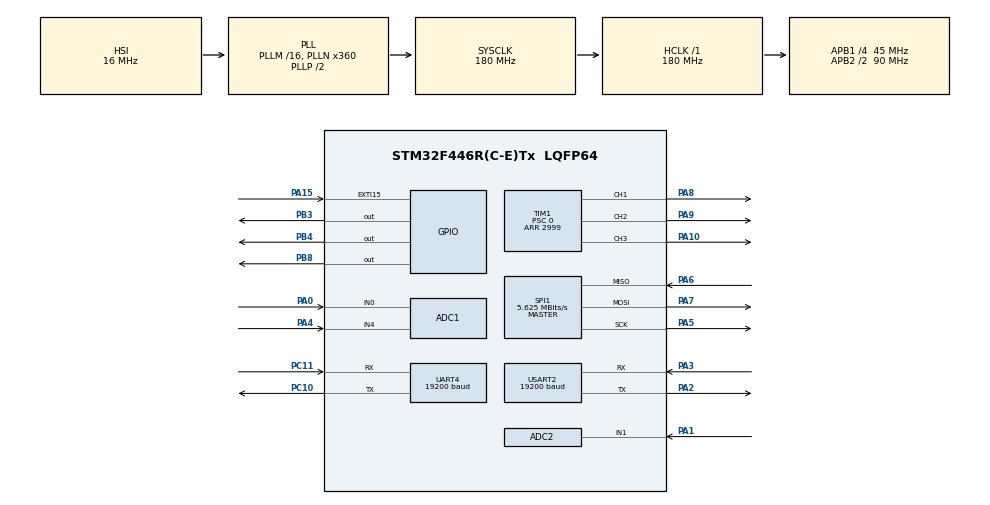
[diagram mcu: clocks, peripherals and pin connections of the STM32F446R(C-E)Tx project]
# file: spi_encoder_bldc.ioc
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ADC1.Channel-5\#ChannelRegularConversion=ADC_CHANNEL_0
ADC1.Channel-6\#ChannelInjectedConversion=ADC_CHANNEL_0
ADC1.Channel-7\#ChannelInjectedConversion=ADC_CHANNEL_4
ADC1.ClockPrescaler=ADC_CLOCK_SYNC_PCLK_DIV6
ADC1.ContinuousConvMode=ENABLE
ADC1.DataAlign=ADC_DATAALIGN_RIGHT
ADC1.EOCSelection=ADC_EOC_SEQ_CONV
ADC1.ExternalTrigConv=ADC_SOFTWARE_START
ADC1.ExternalTrigInjecConv=ADC_EXTERNALTRIGINJECCONV_T1_TRGO
ADC1.InjNumberOfConversion=2
ADC1.InjectedConvMode=Discontinuous
ADC1.InjectedOffset-6\#ChannelInjectedConversion=0
ADC1.InjectedOffset-7\#ChannelInjectedConversion=0
ADC1.InjectedRank-6\#ChannelInjectedConversion=1
ADC1.InjectedRank-7\#ChannelInjectedConversion=2
ADC1.NbrOfConversion=1
ADC1.NbrOfConversionFlag=1
ADC1.Rank-5\#ChannelRegularConversion=1
ADC1.SamplingTime-5\#ChannelRegularConversion=ADC_SAMPLETIME_480CYCLES
ADC1.SamplingTime-6\#ChannelInjectedConversion=ADC_SAMPLETIME_480CYCLES
ADC1.SamplingTime-7\#ChannelInjectedConversion=ADC_SAMPLETIME_480CYCLES
ADC1.master=1
ADC2.Channel-1\#ChannelRegularConversion=ADC_CHANNEL_1
ADC2.ClockPrescaler=ADC_CLOCK_SYNC_PCLK_DIV6
ADC2.NbrOfConversionFlag=1
ADC2.Rank-1\#ChannelRegularConversion=1
ADC2.SamplingTime-1\#ChannelRegularConversion=ADC_SAMPLETIME_15CYCLES
Dma.ADC2.1.Direction=DMA_PERIPH_TO_MEMORY
Dma.ADC2.1.FIFOMode=DMA_FIFOMODE_DISABLE
Dma.ADC2.1.Instance=DMA2_Stream2
Dma.ADC2.1.MemDataAlignment=DMA_MDATAALIGN_HALFWORD
Dma.ADC2.1.MemInc=DMA_MINC_ENABLE
Dma.ADC2.1.Mode=DMA_NORMAL
Dma.ADC2.1.PeriphDataAlignment=DMA_PDATAALIGN_HALFWORD
Dma.ADC2.1.PeriphInc=DMA_PINC_DISABLE
Dma.ADC2.1.Priority=DMA_PRIORITY_MEDIUM
Dma.Request0=USART2_TX
Dma.Request1=ADC2
Dma.Request2=UART4_TX
Dma.UART4_TX.2.Direction=DMA_MEMORY_TO_PERIPH
Dma.UART4_TX.2.FIFOMode=DMA_FIFOMODE_DISABLE
Dma.UART4_TX.2.Instance=DMA1_Stream4
Dma.UART4_TX.2.MemDataAlignment=DMA_MDATAALIGN_BYTE
Dma.UART4_TX.2.MemInc=DMA_MINC_ENABLE
Dma.UART4_TX.2.Mode=DMA_NORMAL
Dma.UART4_TX.2.PeriphDataAlignment=DMA_PDATAALIGN_BYTE
Dma.UART4_TX.2.PeriphInc=DMA_PINC_DISABLE
Dma.UART4_TX.2.Priority=DMA_PRIORITY_LOW
Dma.USART2_TX.0.Direction=DMA_MEMORY_TO_PERIPH
Dma.USART2_TX.0.FIFOMode=DMA_FIFOMODE_DISABLE
Dma.USART2_TX.0.Instance=DMA1_Stream6
Dma.USART2_TX.0.MemDataAlignment=DMA_MDATAALIGN_BYTE
Dma.USART2_TX.0.MemInc=DMA_MINC_ENABLE
Dma.USART2_TX.0.Mode=DMA_NORMAL
Dma.USART2_TX.0.PeriphDataAlignment=DMA_PDATAALIGN_BYTE
Dma.USART2_TX.0.PeriphInc=DMA_PINC_DISABLE
Dma.USART2_TX.0.Priority=DMA_PRIORITY_LOW
Mcu.Family=STM32F4
Mcu.Name=STM32F446R(C-E)Tx
Mcu.Package=LQFP64
NVIC.ADC_IRQn=true\:0\:0\:false\:false\:true\:true\:true\:true
NVIC.DMA1_Stream4_IRQn=true\:0\:0\:false\:false\:true\:false\:true\:true
NVIC.DMA1_Stream6_IRQn=true\:0\:0\:false\:false\:true\:false\:true\:true
NVIC.DMA2_Stream2_IRQn=true\:0\:0\:false\:false\:true\:false\:true\:true
NVIC.PriorityGroup=NVIC_PRIORITYGROUP_0
NVIC.SPI1_IRQn=true\:0\:0\:false\:false\:true\:true\:true\:true
NVIC.TIM8_UP_TIM13_IRQn=true\:0\:0\:false\:false\:true\:true\:true\:true
NVIC.UART4_IRQn=true\:0\:0\:false\:false\:true\:true\:true\:true
NVIC.USART2_IRQn=true\:0\:0\:false\:false\:true\:true\:true\:true
PA0-WKUP.Signal=SharedAnalog_PA0
PA1.Signal=SharedAnalog_PA1
PA10.Signal=S_TIM1_CH3
PA13.GPIO_Label=TMS
PA13.Mode=Serial_Wire
PA13.Signal=SYS_JTMS-SWDIO
PA14.GPIO_Label=TCK
PA14.Mode=Serial_Wire
PA14.Signal=SYS_JTCK-SWCLK
PA15.Signal=GPXTI15
PA2.Mode=Asynchronous
PA2.Signal=USART2_TX
PA3.Mode=Asynchronous
PA3.Signal=USART2_RX
PA4.Signal=SharedAnalog_PA4
PA5.Mode=Full_Duplex_Master
PA5.Signal=SPI1_SCK
PA6.Mode=Full_Duplex_Master
PA6.Signal=SPI1_MISO
PA7.Mode=Full_Duplex_Master
PA7.Signal=SPI1_MOSI
PA8.Signal=S_TIM1_CH1
PA9.Signal=S_TIM1_CH2
PB3.Signal=GPIO_Output
PB4.Signal=GPIO_Output
PB8.Signal=GPIO_Output
PC10.Mode=Asynchronous
PC10.Signal=UART4_TX
PC11.Mode=Asynchronous
PC11.Signal=UART4_RX
PC14-OSC32_IN.Signal=RCC_OSC32_IN
PC15-OSC32_OUT.Signal=RCC_OSC32_OUT
PH0-OSC_IN.Mode=HSE-External-Oscillator
PH0-OSC_IN.Signal=RCC_OSC_IN
PH1-OSC_OUT.Mode=HSE-External-Oscillator
PH1-OSC_OUT.Signal=RCC_OSC_OUT
ProjectManager.HeapSize=0x200
ProjectManager.StackSize=0x400
ProjectManager.TargetToolchain=STM32CubeIDE
RCC.48MHZClocksFreq_Value=84000000
RCC.AHBFreq_Value=180000000
RCC.APB1CLKDivider=RCC_HCLK_DIV4
RCC.APB1Freq_Value=45000000
RCC.APB1TimCLKDivider=1
RCC.APB1TimFreq_Value=45000000
RCC.APB2CLKDivider=RCC_HCLK_DIV2
RCC.APB2Freq_Value=90000000
RCC.APB2TimFreq_Value=180000000
RCC.CortexFreq_Value=180000000
RCC.FLatency-AdvancedSettings=FLASH_LATENCY_5
RCC.HCLKFreq_Value=180000000
RCC.HSE_VALUE=8000000
RCC.HSI_VALUE=16000000
RCC.PLLN=360
RCC.SYSCLKFreq_VALUE=180000000
RCC.SYSCLKSource=RCC_SYSCLKSOURCE_PLLCLK
RCC.USBFreq_Value=180000000
RCC.VCOOutputFreq_Value=360000000
SH.S_TIM1_CH1.0=TIM1_CH1,PWM Generation1 CH1
SH.S_TIM1_CH2.0=TIM1_CH2,PWM Generation2 CH2
SH.S_TIM1_CH3.0=TIM1_CH3,PWM Generation3 CH3
SH.SharedAnalog_PA0.0=GPIO_Analog
SH.SharedAnalog_PA0.1=ADC1_IN0,IN0
SH.SharedAnalog_PA1.0=GPIO_Analog
SH.SharedAnalog_PA1.1=ADC2_IN1,IN1
SH.SharedAnalog_PA4.0=GPIO_Analog
SH.SharedAnalog_PA4.1=ADC1_IN4,IN4
SPI1.BaudRatePrescaler=SPI_BAUDRATEPRESCALER_16
SPI1.CLKPhase=SPI_PHASE_2EDGE
SPI1.CLKPolarity=SPI_POLARITY_LOW
SPI1.CalculateBaudRate=5.625 MBits/s
SPI1.DataSize=SPI_DATASIZE_16BIT
SPI1.Direction=SPI_DIRECTION_2LINES
SPI1.Mode=SPI_MODE_MASTER
SPI1.VirtualType=VM_MASTER
TIM1.AutoReloadPreload=TIM_AUTORELOAD_PRELOAD_DISABLE
TIM1.AutomaticOutput=TIM_AUTOMATICOUTPUT_DISABLE
TIM1.BreakPolarity=TIM_BREAKPOLARITY_HIGH
TIM1.BreakState=TIM_BREAK_DISABLE
TIM1.Channel-PWM\ Generation1\ CH1=TIM_CHANNEL_1
TIM1.Channel-PWM\ Generation2\ CH2=TIM_CHANNEL_2
TIM1.Channel-PWM\ Generation3\ CH3=TIM_CHANNEL_3
TIM1.CounterMode=TIM_COUNTERMODE_CENTERALIGNED1
TIM1.LockLevel=TIM_LOCKLEVEL_OFF
TIM1.OCFastMode_PWM-PWM\ Generation1\ CH1=TIM_OCFAST_ENABLE
TIM1.OCFastMode_PWM-PWM\ Generation2\ CH2=TIM_OCFAST_ENABLE
TIM1.OCFastMode_PWM-PWM\ Generation3\ CH3=TIM_OCFAST_ENABLE
TIM1.OCMode_PWM-PWM\ Generation1\ CH1=TIM_OCMODE_PWM2
TIM1.OCMode_PWM-PWM\ Generation2\ CH2=TIM_OCMODE_PWM2
TIM1.OCMode_PWM-PWM\ Generation3\ CH3=TIM_OCMODE_PWM2
TIM1.OffStateIDLEMode=TIM_OSSI_DISABLE
TIM1.OffStateRunMode=TIM_OSSR_DISABLE
TIM1.Period=2999
TIM1.Prescaler=0
TIM1.Pulse-PWM\ Generation1\ CH1=0
TIM1.Pulse-PWM\ Generation2\ CH2=0
TIM1.Pulse-PWM\ Generation3\ CH3=0
TIM1.RepetitionCounter=0
TIM1.TIM_MasterOutputTrigger=TIM_TRGO_UPDATE
TIM1.TIM_MasterSlaveMode=TIM_MASTERSLAVEMODE_DISABLE
TIM2.Period=4294967295
TIM2.Prescaler=44
TIM3.Prescaler=19
TIM8.Period=999
TIM8.Prescaler=179
UART4.BaudRate=19200
UART4.VirtualMode=Asynchronous
USART2.BaudRate=19200
USART2.VirtualMode=VM_ASYNC
VP_TIM1_VS_ClockSourceINT.Mode=Internal
VP_TIM2_VS_ClockSourceINT.Mode=Internal
VP_TIM3_VS_ClockSourceINT.Mode=Internal
VP_TIM8_VS_ClockSourceINT.Mode=Internal
board=NUCLEO-F446RE

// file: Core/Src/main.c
/* USER CODE BEGIN Header */
/**
  ******************************************************************************
  * @file           : main.c
  * @brief          : Main program body
  ******************************************************************************
  * @attention
  *
  * Copyright (c) 2025 STMicroelectronics.
  * All rights reserved.
  *
  * This software is licensed under terms that can be found in the LICENSE file
  * in the root directory of this software component.
  * If no LICENSE file comes with this software, it is provided AS-IS.
  *
  ******************************************************************************
  */
/* USER CODE END Header */
#include "main.h"

/* USER CODE BEGIN Includes */
#include "stdio.h"
#include "string.h"
#include "math.h"
#define PWM_PERIOD 2999
#define PI 3.14159265359
#define AS5147U_ANGLE_REG  0x3FFF
#define AS5147U_BIT_RESOLUTION 14
#define V_LIMIT 8.0
#define INTEGRAL_LIMIT 1.5
#define OVERCURRENT_LIMIT_SQ 1.96
volatile uint32_t adc_value_A0,adc_value_A2, t_prev;
float ia,ib,ic,i_alpha,i_beta,i_d,i_q,Valpha,Vbeta,Va,Vb,Vc,angle,error_d,error_q,error_d_sum, error_q_sum, speed_error_sum, error_pos_sum;
float id_ref = 0.0,iq_ref = 0.1 ,theta_ref = 0 ,velocity_ref = 50;
float Ki = 30, Kp = 8 ,Kp_speed = 20, Ki_speed = 4,Kd_speed = 1, Ki_pos = 35, Kp_pos = 70,Kd_pos = 3;
float previous_angle,angle_current,angle_previous,velocity,total_angle,error_pos,theta_now,alpha = 0.9;
float execution_time,dt,speed_dt,angle_elec_rad,angle_offset,error_speed,speed_dt = 0.007;
float theta = 0,Vd =0,adc_dma_voltage,Vq,Iq_rate,idq=0;
float output_q_rate,elec_angle,Vq_unclamped,current_sq;
float shunt_resistor = 0.01,amp_gain = 50.0;
float t_position_prev,t_position_now,position_dt,Speed_dt;
int speed_loop_counter = 0,position_loop_counter = 0,i = 0,pole_pairs = 7;
volatile uint8_t flag_current_loop = 0,uart_busy = 0;
uint32_t adc_dma_value;
uint16_t PWM_A,PWM_B,PWM_C,rawCount,adc_inj_val[2],cnt_val;
uint8_t array_iq[50];
float raw_angle,angle_deg;
float error_pos_sum ;

/* USER CODE END Includes */

ADC_HandleTypeDef hadc1;
ADC_HandleTypeDef hadc2;
DMA_HandleTypeDef hdma_adc2;

SPI_HandleTypeDef hspi1;

TIM_HandleTypeDef htim1;
TIM_HandleTypeDef htim2;
TIM_HandleTypeDef htim3;
TIM_HandleTypeDef htim8;

UART_HandleTypeDef huart4;
UART_HandleTypeDef huart2;
DMA_HandleTypeDef hdma_uart4_tx;
DMA_HandleTypeDef hdma_usart2_tx;

void SystemClock_Config(void);
static void MX_GPIO_Init(void);
static void MX_DMA_Init(void);
static void MX_TIM1_Init(void);
static void MX_ADC1_Init(void);
static void MX_SPI1_Init(void);
static void MX_TIM3_Init(void);
static void MX_USART2_UART_Init(void);
static void MX_TIM2_Init(void);
static void MX_TIM8_Init(void);
static void MX_UART4_Init(void);
static void MX_ADC2_Init(void);

/* USER CODE BEGIN 0 */

unsigned long _micros(){
	return HAL_GetTick()*1000;
}

void Update_dt()
{
	 static uint32_t t_prev = 0;
	uint32_t t_now = _micros();
	dt = (t_now - t_prev) / 1000000.0f;
	t_prev = t_now;
}

void update_speed_dt()
{
	 static uint32_t t_speed_prev = 0;
	uint32_t t_speed_now = _micros();
	Speed_dt = (t_speed_now - t_speed_prev) / 1000000.0f;
	t_speed_prev = t_speed_now;
}

void update_position_dt()
{
	 static uint32_t t_position_prev = 0;
	uint32_t t_position_now = _micros();
	position_dt = (t_position_now - t_position_prev) / 1000000.0f;
	t_position_prev = t_position_now;
}

void delay_us (uint16_t us)
{
	__HAL_TIM_SET_COUNTER(&htim3,0);
	while (__HAL_TIM_GET_COUNTER(&htim3) < us);
}

uint8_t spiCalcEvenParity(uint16_t value) {
    uint8_t cnt = 0;
    for (uint8_t i = 0; i < 16; i++) {
        if (value & 0x1) cnt++;
        value >>= 1;
    }
    return cnt & 0x1;
}

uint16_t AS5147U_ReadAngle() {
    uint16_t command = AS5147U_ANGLE_REG ;
    command |= (1 << 14);
    command |= ((uint16_t)spiCalcEvenParity(command) << 15);
    uint16_t receivedData;

    uint16_t nop = 0x0000;

    HAL_GPIO_WritePin(GPIOB, GPIO_PIN_8, GPIO_PIN_RESET);
    HAL_SPI_Transmit(&hspi1, (uint8_t*)&command, 1, HAL_MAX_DELAY);

    HAL_GPIO_WritePin(GPIOB, GPIO_PIN_8, GPIO_PIN_SET);
    delay_us(10);
    HAL_GPIO_WritePin(GPIOB, GPIO_PIN_8, GPIO_PIN_RESET);

    HAL_SPI_TransmitReceive(&hspi1,(uint8_t*)&nop ,(uint8_t*)&receivedData, 1, HAL_MAX_DELAY);
    HAL_GPIO_WritePin(GPIOB, GPIO_PIN_8, GPIO_PIN_SET);

    receivedData = receivedData >> (1 + 13 - AS5147U_BIT_RESOLUTION);
    const uint16_t data_mask = 0xFFFF >> (16 - AS5147U_BIT_RESOLUTION);
    return receivedData & data_mask;

}

float normalize_angle(float angle_elec_rad) {
    while (angle_elec_rad >= 2 * M_PI) angle_elec_rad -= 2 * M_PI;
    while (angle_elec_rad < 0) angle_elec_rad += 2 * M_PI;
    return angle_elec_rad;
}

float AS5147U_GetAngleRad() {
    rawCount = AS5147U_ReadAngle();
    float mechanical = rawCount / 16384.0 * 2.0 * PI;
    mechanical -= 5.3897189304;// dây màu
   // mechanical -= 1.19627206;// dây 3 pha màu trắng
    if (mechanical >= 2.0f * PI) mechanical -= 2.0f * PI;
    return mechanical;
}

float electricalAngle() {
	float mechanical_angle_rad = AS5147U_GetAngleRad();
     elec_angle = ((mechanical_angle_rad  - angle_offset )) * pole_pairs;
    while (elec_angle >= 2 * M_PI) elec_angle -= 2 * M_PI;
    while (elec_angle < 0) elec_angle += 2 * M_PI;
    return elec_angle;
}

void alignRotor() {
    float V_align = 2.0;

    Va = V_align;
    PWM_A = ((Va / 8.0 + 1.0)/2 * PWM_PERIOD)*0.4;
    PWM_B = 0;
    PWM_C = 0;

    __HAL_TIM_SET_COMPARE(&htim1, TIM_CHANNEL_1, PWM_A);
    __HAL_TIM_SET_COMPARE(&htim1, TIM_CHANNEL_2, PWM_B);
    __HAL_TIM_SET_COMPARE(&htim1, TIM_CHANNEL_3, PWM_C);

    HAL_Delay(1000);

    angle_offset = AS5147U_GetAngleRad();

    __HAL_TIM_SET_COMPARE(&htim1, TIM_CHANNEL_1, 0);
    __HAL_TIM_SET_COMPARE(&htim1, TIM_CHANNEL_2, 0);
    __HAL_TIM_SET_COMPARE(&htim1, TIM_CHANNEL_3, 0);
}
void clark()
{
 	i_alpha = ia;
	i_beta = (ib - ic) / sqrt(3);
}

void park()
{
	i_d = i_alpha*cos(theta) + i_beta*sin(theta);
	i_q = -i_alpha*sin(theta) + i_beta*cos(theta);
	idq = sqrt( i_d * i_d + i_q * i_q);
}

void setpwm(){

	PWM_A = ((Va / 8 + 1.0)/2 * PWM_PERIOD)*0.3;
	PWM_B = ((Vb / 8 + 1.0)/2 * PWM_PERIOD)*0.3;
	PWM_C = ((Vc / 8 + 1.0)/2 * PWM_PERIOD)*0.3;

	// current_sq = sqrt(ia * ia + ib * ib + ic * ic);
	 current_sq = ia * ia + ib * ib + ic * ic;

	if (current_sq > OVERCURRENT_LIMIT_SQ) {
	    __HAL_TIM_SET_COMPARE(&htim1, TIM_CHANNEL_1, 0);
	    __HAL_TIM_SET_COMPARE(&htim1, TIM_CHANNEL_2, 0);
	    __HAL_TIM_SET_COMPARE(&htim1, TIM_CHANNEL_3, 0);
	    //HAL_Delay(5000);
	} else {
	    __HAL_TIM_SET_COMPARE(&htim1, TIM_CHANNEL_1, PWM_A);
	    __HAL_TIM_SET_COMPARE(&htim1, TIM_CHANNEL_2, PWM_B);
	    __HAL_TIM_SET_COMPARE(&htim1, TIM_CHANNEL_3, PWM_C);
	}
	if (adc_dma_voltage < 1.5 || adc_dma_voltage > 1.9) {
		    __HAL_TIM_SET_COMPARE(&htim1, TIM_CHANNEL_1, 0);
		    __HAL_TIM_SET_COMPARE(&htim1, TIM_CHANNEL_2, 0);
		    __HAL_TIM_SET_COMPARE(&htim1, TIM_CHANNEL_3, 0);
		    //HAL_Delay(5000);

		} else {
		    __HAL_TIM_SET_COMPARE(&htim1, TIM_CHANNEL_1, PWM_A);
		    __HAL_TIM_SET_COMPARE(&htim1, TIM_CHANNEL_2, PWM_B);
		    __HAL_TIM_SET_COMPARE(&htim1, TIM_CHANNEL_3, PWM_C);
		}
}

void update_PID()
{
	if ((fabs(error_pos) >= 0.0f) && (fabs(error_pos) <= (6.0f * (float)M_PI)))//(6.0f * (float)M_PI) ))
	{

		Kp_speed = 20.0f;
				Ki_speed = 2.0f;
				Kd_speed = 2.0f;
				Ki_pos = 1.0f;
				Kp_pos = 100.0f;
				Kd_pos = 15.0f;
			    if((velocity_ref > -200 && velocity_ref <= 0) || (velocity_ref > 0 && velocity_ref <= 200))
			    {
			        Ki = 3.5;
			        Kp = 1.0;
			    }
			    else if((velocity_ref > -500 && velocity_ref <= -200)||(velocity_ref > 200 && velocity_ref <= 500))
			    {
			        Ki = 5.0;
			        Kp = 2.0;
			    }
			    else if((velocity_ref > -1000 && velocity_ref <= -500)||(velocity_ref > 500 && velocity_ref <= 1000))
			    {
			        Ki = 7.0;
			        Kp = 2.0;
			    }
			    else if((velocity_ref > -1500 && velocity_ref <= -1000)||(velocity_ref > 1000 && velocity_ref <= 1500))
			    {
			        Ki = 11;
			        Kp = 2.0;
			    }
			    else
			    {
			        Ki = 13;
			        Kp = 2.0;
			    }
	}
else
	{
		Kp_speed = 10.0f;
		Ki_speed = 0.0f;
		Kd_speed = 0.0f;
		Ki_pos = 5.0f;
		Kp_pos = 100.0f;
		Kd_pos = 0.5f;
		if((velocity_ref > -200 && velocity_ref <= 0) || (velocity_ref > 0 && velocity_ref <= 200))
		{
		Ki = 7.5;
		Kp = 5.5;
		}
		else if((velocity_ref > -500 && velocity_ref <= -200)||(velocity_ref > 200 && velocity_ref <= 500))
		{
		 Ki = 8.0;
		 Kp = 5.5;
		 }
		else if((velocity_ref > -1000 && velocity_ref <= -500)||(velocity_ref > 500 && velocity_ref <= 1000))
		{
		 Ki = 9.0;
		 Kp = 5.5;
		 }
		else if((velocity_ref > -1500 && velocity_ref <= -1000)||(velocity_ref > 1000 && velocity_ref <= 1500))
		{
		Ki = 13;
		Kp = 5.5;
		}
		else
		{
		Ki = 13;
		Kp = 5.5;
		}
	}

}

void position_loop()
{
	update_position_dt();
	    static float raw_angle_prev = 0;
	    static int turn_count = 0;

	    static float velocity_ref_prev = 0;

	     raw_angle = AS5147U_GetAngleRad();
	     angle_deg = raw_angle * (180.0f / M_PI);
	    float delta = raw_angle - raw_angle_prev;

	    if (delta > M_PI) turn_count--;
	    else if (delta < -M_PI) turn_count++;

	    raw_angle_prev = raw_angle;

	    theta_now = raw_angle + turn_count * 2.0f * M_PI;
	    error_pos = theta_ref - theta_now;

	    error_pos_sum += error_pos * position_dt;
	    error_pos_sum = fminf(fmaxf(error_pos_sum, -0.5f), 0.5f);

	    float velocity_unclamped = Kp_pos * error_pos + Ki_pos * error_pos_sum;
	    velocity_unclamped = fminf(fmaxf(velocity_unclamped, -1700), 1700);

	    float velocity_ramp = 5000.0f;
	    float velocity_rate = (velocity_unclamped - velocity_ref_prev) / position_dt;

	    if (velocity_rate > velocity_ramp)
	        velocity_ref = velocity_ref_prev + velocity_ramp * position_dt;
	    else if (velocity_rate < -velocity_ramp)
	        velocity_ref = velocity_ref_prev - velocity_ramp * position_dt;
	    else
	        velocity_ref = velocity_unclamped;

	    velocity_ref_prev = velocity_ref;
}

void Speed_Loop()
{
	update_speed_dt();
    static float angle_prev = 0;
    static float error_speed_prev = 0;
    float angle_now = electricalAngle();
    float delta_angle = angle_now - angle_prev;
    //speed_dt= Speed_dt * 7;
    if (delta_angle > PI) delta_angle -= 2 * PI;
    if (delta_angle < -PI) delta_angle += 2 * PI;

    velocity = alpha * velocity + (1 - alpha) * ((delta_angle / speed_dt) * (60.0f / (2.0f * PI)));
    error_speed = velocity_ref - velocity;
    speed_error_sum += error_speed * speed_dt;
    speed_error_sum = fminf(fmaxf(speed_error_sum, -1.0f), 1.0f);

    float derivative = (error_speed - error_speed_prev) / speed_dt;
    error_speed_prev = error_speed;

    float Iq_unlimited = Kp_speed * error_speed + Ki_speed * speed_error_sum + Kd_speed * derivative;
    iq_ref = fminf(fmaxf(Iq_unlimited, -1.0f), 1.0f);
    angle_prev = angle_now;

}

void Current_Loop()
{
    Update_dt();

    theta = electricalAngle();
    clark();
    park();

    error_d = id_ref - i_d;
    error_q = iq_ref - i_q;

    error_d_sum += error_d * dt;
    error_q_sum += error_q * dt;

    error_d_sum = fminf(fmaxf(error_d_sum, -INTEGRAL_LIMIT), INTEGRAL_LIMIT);
    error_q_sum = fminf(fmaxf(error_q_sum, -INTEGRAL_LIMIT), INTEGRAL_LIMIT);

    float Vd_unclamped = Kp * error_d + Ki * error_d_sum ;
     Vq_unclamped = Kp * error_q + Ki * error_q_sum ;

    float V_limit = 8.0f;

    static float Vd_prev = 0;
    static float Vq_prev = 0;
    float output_ramp = 5000.0f;

    float output_d_rate = (Vd_unclamped - Vd_prev) / dt;
    output_q_rate = (Vq_unclamped - Vq_prev) / dt;

    if (output_d_rate > output_ramp)
        Vd = Vd_prev + output_ramp * dt;
    else if (output_d_rate < -output_ramp)
        Vd = Vd_prev - output_ramp * dt;
    else
        Vd = Vd_unclamped;

    if (output_q_rate > output_ramp)
        Vq = Vq_prev + output_ramp * dt;
    else if (output_q_rate < -output_ramp)
        Vq = Vq_prev - output_ramp * dt;
    else
        Vq = Vq_unclamped;

    Vd = fminf(fmaxf(Vd, -V_limit), V_limit);
    Vq = fminf(fmaxf(Vq, -V_limit), V_limit);

    Vd_prev = Vd;
    Vq_prev = Vq;

	Valpha = Vd * cos(theta) - Vq * sin(theta);
	Vbeta  = Vd * sin(theta) + Vq * cos(theta);

    Va = Valpha;
    Vb = -0.5 * Valpha + (sqrtf(3) / 2) * Vbeta ;
    Vc = -0.5 * Valpha - (sqrtf(3) / 2) * Vbeta ;

    setpwm(Va, Vb, Vc);
}

/* USER CODE END 0 */

int main(void)
{

  /* MCU Configuration--------------------------------------------------------*/

  /* Reset of all peripherals, Initializes the Flash interface and the Systick. */
  HAL_Init();

  /* Configure the system clock */
  SystemClock_Config();

  /* Initialize all configured peripherals */
  MX_GPIO_Init();
  MX_DMA_Init();
  MX_TIM1_Init();
  MX_ADC1_Init();
  MX_SPI1_Init();
  MX_TIM3_Init();
  MX_USART2_UART_Init();
  MX_TIM2_Init();
  MX_TIM8_Init();
  MX_UART4_Init();
  MX_ADC2_Init();
  /* USER CODE BEGIN 2 */

  HAL_TIM_Base_Start(&htim1);
  HAL_TIM_PWM_Start(&htim1, TIM_CHANNEL_1);
  HAL_TIM_PWM_Start(&htim1, TIM_CHANNEL_2);
  HAL_TIM_PWM_Start(&htim1, TIM_CHANNEL_3);
  HAL_TIM_Base_Start_IT(&htim8);
  HAL_TIM_Base_Start(&htim3);
  __HAL_TIM_SET_COUNTER(&htim2, 0);
  HAL_TIM_Base_Start(&htim2);
  HAL_ADCEx_InjectedStart_IT(&hadc1);
 // HAL_GPIO_WritePin(GPIOB, GPIO_PIN_3, GPIO_PIN_SET);
 // HAL_GPIO_WritePin(GPIOB, GPIO_PIN_4, GPIO_PIN_SET);
  HAL_ADC_Start_DMA(&hadc2, &adc_dma_value, 1);
  angle = AS5147U_GetAngleRad();
  alignRotor();
  //position_loop();
  /* USER CODE END 2 */

  /* Infinite loop */
  /* USER CODE BEGIN WHILE */
  while (1)
  {

	  if (flag_current_loop)
	     {
	         flag_current_loop = 0;
	         update_PID();
	         Current_Loop();
	         Speed_Loop();
	         i++;
	         position_loop_counter++;
	         if(position_loop_counter >= 12)
	         {
       	     position_loop();
          	 position_loop_counter = 0;
	         }

// demo vòng vị trí

	                   if(i == 2000)
	                   {
	                	   theta_ref += M_PI*6;

	                   }
	                   else if (i == 4000)
	                   {
	                	   theta_ref -= M_PI*6;
	                	   i = 0;
	                   }
	     }
	      if (!uart_busy)
	      {
	    	  	    sprintf((char*)array_iq, "%f\t%f\t%f\t\r\n", theta_ref, theta_now,velocity);// ,velocity
	    	  	    uart_busy = 1; // Đánh dấu UART đang bận
	    	  	    HAL_UART_Transmit_DMA(&huart2, array_iq, strlen((char*)array_iq));

      }
    /* USER CODE END WHILE */

  }
}

void SystemClock_Config(void)
{
  RCC_OscInitTypeDef RCC_OscInitStruct = {0};
  RCC_ClkInitTypeDef RCC_ClkInitStruct = {0};

  /** Configure the main internal regulator output voltage
  */
  __HAL_RCC_PWR_CLK_ENABLE();
  __HAL_PWR_VOLTAGESCALING_CONFIG(PWR_REGULATOR_VOLTAGE_SCALE1);

  /** Initializes the RCC Oscillators according to the specified parameters
  * in the RCC_OscInitTypeDef structure.
  */
  RCC_OscInitStruct.OscillatorType = RCC_OSCILLATORTYPE_HSI;
  RCC_OscInitStruct.HSIState = RCC_HSI_ON;
  RCC_OscInitStruct.HSICalibrationValue = RCC_HSICALIBRATION_DEFAULT;
  RCC_OscInitStruct.PLL.PLLState = RCC_PLL_ON;
  RCC_OscInitStruct.PLL.PLLSource = RCC_PLLSOURCE_HSI;
  RCC_OscInitStruct.PLL.PLLM = 16;
  RCC_OscInitStruct.PLL.PLLN = 360;
  RCC_OscInitStruct.PLL.PLLP = RCC_PLLP_DIV2;
  RCC_OscInitStruct.PLL.PLLQ = 2;
  RCC_OscInitStruct.PLL.PLLR = 2;
  if (HAL_RCC_OscConfig(&RCC_OscInitStruct) != HAL_OK)
  {
    Error_Handler();
  }

  /** Activate the Over-Drive mode
  */
  if (HAL_PWREx_EnableOverDrive() != HAL_OK)
  {
    Error_Handler();
  }

  /** Initializes the CPU, AHB and APB buses clocks
  */
  RCC_ClkInitStruct.ClockType = RCC_CLOCKTYPE_HCLK|RCC_CLOCKTYPE_SYSCLK
                              |RCC_CLOCKTYPE_PCLK1|RCC_CLOCKTYPE_PCLK2;
  RCC_ClkInitStruct.SYSCLKSource = RCC_SYSCLKSOURCE_PLLCLK;
  RCC_ClkInitStruct.AHBCLKDivider = RCC_SYSCLK_DIV1;
  RCC_ClkInitStruct.APB1CLKDivider = RCC_HCLK_DIV4;
  RCC_ClkInitStruct.APB2CLKDivider = RCC_HCLK_DIV2;

  if (HAL_RCC_ClockConfig(&RCC_ClkInitStruct, FLASH_LATENCY_5) != HAL_OK)
  {
    Error_Handler();
  }
}

static void MX_ADC1_Init(void)
{

  ADC_ChannelConfTypeDef sConfig = {0};
  ADC_InjectionConfTypeDef sConfigInjected = {0};

  /** Configure the global features of the ADC (Clock, Resolution, Data Alignment and number of conversion)
  */
  hadc1.Instance = ADC1;
  hadc1.Init.ClockPrescaler = ADC_CLOCK_SYNC_PCLK_DIV6;
  hadc1.Init.Resolution = ADC_RESOLUTION_12B;
  hadc1.Init.ScanConvMode = ENABLE;
  hadc1.Init.ContinuousConvMode = ENABLE;
  hadc1.Init.DiscontinuousConvMode = DISABLE;
  hadc1.Init.ExternalTrigConvEdge = ADC_EXTERNALTRIGCONVEDGE_NONE;
  hadc1.Init.ExternalTrigConv = ADC_SOFTWARE_START;
  hadc1.Init.DataAlign = ADC_DATAALIGN_RIGHT;
  hadc1.Init.NbrOfConversion = 1;
  hadc1.Init.DMAContinuousRequests = DISABLE;
  hadc1.Init.EOCSelection = ADC_EOC_SEQ_CONV;
  if (HAL_ADC_Init(&hadc1) != HAL_OK)
  {
    Error_Handler();
  }

  /** Configure for the selected ADC regular channel its corresponding rank in the sequencer and its sample time.
  */
  sConfig.Channel = ADC_CHANNEL_0;
  sConfig.Rank = 1;
  sConfig.SamplingTime = ADC_SAMPLETIME_480CYCLES;
  if (HAL_ADC_ConfigChannel(&hadc1, &sConfig) != HAL_OK)
  {
    Error_Handler();
  }

  /** Configures for the selected ADC injected channel its corresponding rank in the sequencer and its sample time
  */
  sConfigInjected.InjectedChannel = ADC_CHANNEL_0;
  sConfigInjected.InjectedRank = 1;
  sConfigInjected.InjectedNbrOfConversion = 2;
  sConfigInjected.InjectedSamplingTime = ADC_SAMPLETIME_480CYCLES;
  sConfigInjected.ExternalTrigInjecConvEdge = ADC_EXTERNALTRIGINJECCONVEDGE_RISING;
  sConfigInjected.ExternalTrigInjecConv = ADC_EXTERNALTRIGINJECCONV_T1_TRGO;
  sConfigInjected.AutoInjectedConv = DISABLE;
  sConfigInjected.InjectedDiscontinuousConvMode = ENABLE;
  sConfigInjected.InjectedOffset = 0;
  if (HAL_ADCEx_InjectedConfigChannel(&hadc1, &sConfigInjected) != HAL_OK)
  {
    Error_Handler();
  }

  /** Configures for the selected ADC injected channel its corresponding rank in the sequencer and its sample time
  */
  sConfigInjected.InjectedChannel = ADC_CHANNEL_4;
  sConfigInjected.InjectedRank = 2;
  if (HAL_ADCEx_InjectedConfigChannel(&hadc1, &sConfigInjected) != HAL_OK)
  {
    Error_Handler();
  }

}

static void MX_ADC2_Init(void)
{

  ADC_ChannelConfTypeDef sConfig = {0};

  /** Configure the global features of the ADC (Clock, Resolution, Data Alignment and number of conversion)
  */
  hadc2.Instance = ADC2;
  hadc2.Init.ClockPrescaler = ADC_CLOCK_SYNC_PCLK_DIV6;
  hadc2.Init.Resolution = ADC_RESOLUTION_12B;
  hadc2.Init.ScanConvMode = DISABLE;
  hadc2.Init.ContinuousConvMode = DISABLE;
  hadc2.Init.DiscontinuousConvMode = DISABLE;
  hadc2.Init.ExternalTrigConvEdge = ADC_EXTERNALTRIGCONVEDGE_NONE;
  hadc2.Init.ExternalTrigConv = ADC_SOFTWARE_START;
  hadc2.Init.DataAlign = ADC_DATAALIGN_RIGHT;
  hadc2.Init.NbrOfConversion = 1;
  hadc2.Init.DMAContinuousRequests = DISABLE;
  hadc2.Init.EOCSelection = ADC_EOC_SINGLE_CONV;
  if (HAL_ADC_Init(&hadc2) != HAL_OK)
  {
    Error_Handler();
  }

  /** Configure for the selected ADC regular channel its corresponding rank in the sequencer and its sample time.
  */
  sConfig.Channel = ADC_CHANNEL_1;
  sConfig.Rank = 1;
  sConfig.SamplingTime = ADC_SAMPLETIME_15CYCLES;
  if (HAL_ADC_ConfigChannel(&hadc2, &sConfig) != HAL_OK)
  {
    Error_Handler();
  }

}

static void MX_SPI1_Init(void)
{

  /* SPI1 parameter configuration*/
  hspi1.Instance = SPI1;
  hspi1.Init.Mode = SPI_MODE_MASTER;
  hspi1.Init.Direction = SPI_DIRECTION_2LINES;
  hspi1.Init.DataSize = SPI_DATASIZE_16BIT;
  hspi1.Init.CLKPolarity = SPI_POLARITY_LOW;
  hspi1.Init.CLKPhase = SPI_PHASE_2EDGE;
  hspi1.Init.NSS = SPI_NSS_SOFT;
  hspi1.Init.BaudRatePrescaler = SPI_BAUDRATEPRESCALER_16;
  hspi1.Init.FirstBit = SPI_FIRSTBIT_MSB;
  hspi1.Init.TIMode = SPI_TIMODE_DISABLE;
  hspi1.Init.CRCCalculation = SPI_CRCCALCULATION_DISABLE;
  hspi1.Init.CRCPolynomial = 10;
  if (HAL_SPI_Init(&hspi1) != HAL_OK)
  {
    Error_Handler();
  }

}

static void MX_TIM1_Init(void)
{

  TIM_ClockConfigTypeDef sClockSourceConfig = {0};
  TIM_MasterConfigTypeDef sMasterConfig = {0};
  TIM_OC_InitTypeDef sConfigOC = {0};
  TIM_BreakDeadTimeConfigTypeDef sBreakDeadTimeConfig = {0};

  htim1.Instance = TIM1;
  htim1.Init.Prescaler = 0;
  htim1.Init.CounterMode = TIM_COUNTERMODE_CENTERALIGNED1;
  htim1.Init.Period = 2999;
  htim1.Init.ClockDivision = TIM_CLOCKDIVISION_DIV1;
  htim1.Init.RepetitionCounter = 0;
  htim1.Init.AutoReloadPreload = TIM_AUTORELOAD_PRELOAD_DISABLE;
  if (HAL_TIM_Base_Init(&htim1) != HAL_OK)
  {
    Error_Handler();
  }
  sClockSourceConfig.ClockSource = TIM_CLOCKSOURCE_INTERNAL;
  if (HAL_TIM_ConfigClockSource(&htim1, &sClockSourceConfig) != HAL_OK)
  {
    Error_Handler();
  }
  if (HAL_TIM_PWM_Init(&htim1) != HAL_OK)
  {
    Error_Handler();
  }
  sMasterConfig.MasterOutputTrigger = TIM_TRGO_UPDATE;
  sMasterConfig.MasterSlaveMode = TIM_MASTERSLAVEMODE_DISABLE;
  if (HAL_TIMEx_MasterConfigSynchronization(&htim1, &sMasterConfig) != HAL_OK)
  {
    Error_Handler();
  }
  sConfigOC.OCMode = TIM_OCMODE_PWM2;
  sConfigOC.Pulse = 0;
  sConfigOC.OCPolarity = TIM_OCPOLARITY_HIGH;
  sConfigOC.OCNPolarity = TIM_OCNPOLARITY_HIGH;
  sConfigOC.OCFastMode = TIM_OCFAST_ENABLE;
  sConfigOC.OCIdleState = TIM_OCIDLESTATE_RESET;
  sConfigOC.OCNIdleState = TIM_OCNIDLESTATE_RESET;
  if (HAL_TIM_PWM_ConfigChannel(&htim1, &sConfigOC, TIM_CHANNEL_1) != HAL_OK)
  {
    Error_Handler();
  }
  if (HAL_TIM_PWM_ConfigChannel(&htim1, &sConfigOC, TIM_CHANNEL_2) != HAL_OK)
  {
    Error_Handler();
  }
  if (HAL_TIM_PWM_ConfigChannel(&htim1, &sConfigOC, TIM_CHANNEL_3) != HAL_OK)
  {
    Error_Handler();
  }
  sBreakDeadTimeConfig.OffStateRunMode = TIM_OSSR_DISABLE;
  sBreakDeadTimeConfig.OffStateIDLEMode = TIM_OSSI_DISABLE;
  sBreakDeadTimeConfig.LockLevel = TIM_LOCKLEVEL_OFF;
  sBreakDeadTimeConfig.DeadTime = 0;
  sBreakDeadTimeConfig.BreakState = TIM_BREAK_DISABLE;
  sBreakDeadTimeConfig.BreakPolarity = TIM_BREAKPOLARITY_HIGH;
  sBreakDeadTimeConfig.AutomaticOutput = TIM_AUTOMATICOUTPUT_DISABLE;
  if (HAL_TIMEx_ConfigBreakDeadTime(&htim1, &sBreakDeadTimeConfig) != HAL_OK)
  {
    Error_Handler();
  }
  HAL_TIM_MspPostInit(&htim1);

}

static void MX_TIM2_Init(void)
{

  TIM_ClockConfigTypeDef sClockSourceConfig = {0};
  TIM_MasterConfigTypeDef sMasterConfig = {0};

  htim2.Instance = TIM2;
  htim2.Init.Prescaler = 44;
  htim2.Init.CounterMode = TIM_COUNTERMODE_UP;
  htim2.Init.Period = 4294967295;
  htim2.Init.ClockDivision = TIM_CLOCKDIVISION_DIV1;
  htim2.Init.AutoReloadPreload = TIM_AUTORELOAD_PRELOAD_DISABLE;
  if (HAL_TIM_Base_Init(&htim2) != HAL_OK)
  {
    Error_Handler();
  }
  sClockSourceConfig.ClockSource = TIM_CLOCKSOURCE_INTERNAL;
  if (HAL_TIM_ConfigClockSource(&htim2, &sClockSourceConfig) != HAL_OK)
  {
    Error_Handler();
  }
  sMasterConfig.MasterOutputTrigger = TIM_TRGO_RESET;
  sMasterConfig.MasterSlaveMode = TIM_MASTERSLAVEMODE_DISABLE;
  if (HAL_TIMEx_MasterConfigSynchronization(&htim2, &sMasterConfig) != HAL_OK)
  {
    Error_Handler();
  }

}

static void MX_TIM3_Init(void)
{

  TIM_ClockConfigTypeDef sClockSourceConfig = {0};
  TIM_MasterConfigTypeDef sMasterConfig = {0};

  htim3.Instance = TIM3;
  htim3.Init.Prescaler = 19;
  htim3.Init.CounterMode = TIM_COUNTERMODE_UP;
  htim3.Init.Period = 65535;
  htim3.Init.ClockDivision = TIM_CLOCKDIVISION_DIV1;
  htim3.Init.AutoReloadPreload = TIM_AUTORELOAD_PRELOAD_DISABLE;
  if (HAL_TIM_Base_Init(&htim3) != HAL_OK)
  {
    Error_Handler();
  }
  sClockSourceConfig.ClockSource = TIM_CLOCKSOURCE_INTERNAL;
  if (HAL_TIM_ConfigClockSource(&htim3, &sClockSourceConfig) != HAL_OK)
  {
    Error_Handler();
  }
  sMasterConfig.MasterOutputTrigger = TIM_TRGO_RESET;
  sMasterConfig.MasterSlaveMode = TIM_MASTERSLAVEMODE_DISABLE;
  if (HAL_TIMEx_MasterConfigSynchronization(&htim3, &sMasterConfig) != HAL_OK)
  {
    Error_Handler();
  }

}

static void MX_TIM8_Init(void)
{

  TIM_ClockConfigTypeDef sClockSourceConfig = {0};
  TIM_MasterConfigTypeDef sMasterConfig = {0};

  htim8.Instance = TIM8;
  htim8.Init.Prescaler = 179;
  htim8.Init.CounterMode = TIM_COUNTERMODE_UP;
  htim8.Init.Period = 999;
  htim8.Init.ClockDivision = TIM_CLOCKDIVISION_DIV1;
  htim8.Init.RepetitionCounter = 0;
  htim8.Init.AutoReloadPreload = TIM_AUTORELOAD_PRELOAD_DISABLE;
  if (HAL_TIM_Base_Init(&htim8) != HAL_OK)
  {
    Error_Handler();
  }
  sClockSourceConfig.ClockSource = TIM_CLOCKSOURCE_INTERNAL;
  if (HAL_TIM_ConfigClockSource(&htim8, &sClockSourceConfig) != HAL_OK)
  {
    Error_Handler();
  }
  sMasterConfig.MasterOutputTrigger = TIM_TRGO_RESET;
  sMasterConfig.MasterSlaveMode = TIM_MASTERSLAVEMODE_DISABLE;
  if (HAL_TIMEx_MasterConfigSynchronization(&htim8, &sMasterConfig) != HAL_OK)
  {
    Error_Handler();
  }

}

static void MX_UART4_Init(void)
{

  huart4.Instance = UART4;
  huart4.Init.BaudRate = 19200;
  huart4.Init.WordLength = UART_WORDLENGTH_8B;
  huart4.Init.StopBits = UART_STOPBITS_1;
  huart4.Init.Parity = UART_PARITY_NONE;
  huart4.Init.Mode = UART_MODE_TX_RX;
  huart4.Init.HwFlowCtl = UART_HWCONTROL_NONE;
  huart4.Init.OverSampling = UART_OVERSAMPLING_16;
  if (HAL_UART_Init(&huart4) != HAL_OK)
  {
    Error_Handler();
  }

}

static void MX_USART2_UART_Init(void)
{

  huart2.Instance = USART2;
  huart2.Init.BaudRate = 19200;
  huart2.Init.WordLength = UART_WORDLENGTH_8B;
  huart2.Init.StopBits = UART_STOPBITS_1;
  huart2.Init.Parity = UART_PARITY_NONE;
  huart2.Init.Mode = UART_MODE_TX_RX;
  huart2.Init.HwFlowCtl = UART_HWCONTROL_NONE;
  huart2.Init.OverSampling = UART_OVERSAMPLING_16;
  if (HAL_UART_Init(&huart2) != HAL_OK)
  {
    Error_Handler();
  }

}

static void MX_DMA_Init(void)
{

  /* DMA controller clock enable */
  __HAL_RCC_DMA1_CLK_ENABLE();
  __HAL_RCC_DMA2_CLK_ENABLE();

  /* DMA interrupt init */
  /* DMA1_Stream4_IRQn interrupt configuration */
  HAL_NVIC_SetPriority(DMA1_Stream4_IRQn, 0, 0);
  HAL_NVIC_EnableIRQ(DMA1_Stream4_IRQn);
  /* DMA1_Stream6_IRQn interrupt configuration */
  HAL_NVIC_SetPriority(DMA1_Stream6_IRQn, 0, 0);
  HAL_NVIC_EnableIRQ(DMA1_Stream6_IRQn);
  /* DMA2_Stream2_IRQn interrupt configuration */
  HAL_NVIC_SetPriority(DMA2_Stream2_IRQn, 0, 0);
  HAL_NVIC_EnableIRQ(DMA2_Stream2_IRQn);

}

static void MX_GPIO_Init(void)
{
  GPIO_InitTypeDef GPIO_InitStruct = {0};

  /* GPIO Ports Clock Enable */
  __HAL_RCC_GPIOC_CLK_ENABLE();
  __HAL_RCC_GPIOH_CLK_ENABLE();
  __HAL_RCC_GPIOA_CLK_ENABLE();
  __HAL_RCC_GPIOB_CLK_ENABLE();

  /*Configure GPIO pin Output Level */
  HAL_GPIO_WritePin(GPIOB, GPIO_PIN_3|GPIO_PIN_4|GPIO_PIN_8, GPIO_PIN_RESET);

  /*Configure GPIO pin : PA15 */
  GPIO_InitStruct.Pin = GPIO_PIN_15;
  GPIO_InitStruct.Mode = GPIO_MODE_IT_RISING;
  GPIO_InitStruct.Pull = GPIO_NOPULL;
  HAL_GPIO_Init(GPIOA, &GPIO_InitStruct);

  /*Configure GPIO pins : PB3 PB4 PB8 */
  GPIO_InitStruct.Pin = GPIO_PIN_3|GPIO_PIN_4|GPIO_PIN_8;
  GPIO_InitStruct.Mode = GPIO_MODE_OUTPUT_PP;
  GPIO_InitStruct.Pull = GPIO_NOPULL;
  GPIO_InitStruct.Speed = GPIO_SPEED_FREQ_LOW;
  HAL_GPIO_Init(GPIOB, &GPIO_InitStruct);

}

/* USER CODE BEGIN 4 */
void HAL_ADCEx_InjectedConvCpltCallback(ADC_HandleTypeDef *hadc) {
    if (hadc->Instance == ADC1) {
         adc_value_A0 = HAL_ADCEx_InjectedGetValue(hadc, ADC_INJECTED_RANK_1);
         adc_value_A2 = HAL_ADCEx_InjectedGetValue(hadc, ADC_INJECTED_RANK_2);
         ia = (((adc_value_A0/4095.0)*3.3 - 1.65))/(50.0*0.01);
         ib = (((adc_value_A2/4095.0)*3.3 - 1.65))/(50.0*0.01);
         ic= -( ia + ib);
    	 current_sq = ia*ia + ib*ib + ic*ic;
    	 if ((current_sq > OVERCURRENT_LIMIT_SQ) ) {
    		 HAL_GPIO_WritePin(GPIOB, GPIO_PIN_4, 0);
    		 HAL_GPIO_WritePin(GPIOB, GPIO_PIN_3, GPIO_PIN_RESET);
    		 __HAL_TIM_SET_COMPARE(&htim1, TIM_CHANNEL_1, 0);
    		 __HAL_TIM_SET_COMPARE(&htim1, TIM_CHANNEL_2, 0);
    		 __HAL_TIM_SET_COMPARE(&htim1, TIM_CHANNEL_3, 0);

    	 } else {
    		 HAL_GPIO_WritePin(GPIOB, GPIO_PIN_4, 1);
    		 HAL_GPIO_WritePin(GPIOB, GPIO_PIN_3, GPIO_PIN_SET);

    	 }
    }
}

void HAL_TIM_PeriodElapsedCallback(TIM_HandleTypeDef *htim)
{
    if (htim->Instance == TIM8)
    {
        flag_current_loop = 1;
    }
}

void HAL_UART_TxCpltCallback(UART_HandleTypeDef *huart)
{
    if (huart->Instance == USART2)//
    {
        uart_busy = 0;
    }
}
void HAL_ADC_ConvCpltCallback(ADC_HandleTypeDef *hadc)
{
    if (hadc->Instance == ADC2)
    {
        adc_dma_voltage = (adc_dma_value / 4095.0) * 3.3;
   	 if ( (adc_dma_voltage < 1.5f) || (adc_dma_voltage > 1.9f)) {
   		 HAL_GPIO_WritePin(GPIOB, GPIO_PIN_4, GPIO_PIN_RESET);
   		HAL_GPIO_WritePin(GPIOB, GPIO_PIN_3, GPIO_PIN_RESET);

   	 } else {
   		 HAL_GPIO_WritePin(GPIOB, GPIO_PIN_4, GPIO_PIN_SET);
   		HAL_GPIO_WritePin(GPIOB, GPIO_PIN_3, GPIO_PIN_SET);

   	 }

    }
}

/* USER CODE END 4 */

void Error_Handler(void)
{
  __disable_irq();
  while (1)
  {
  }
}
